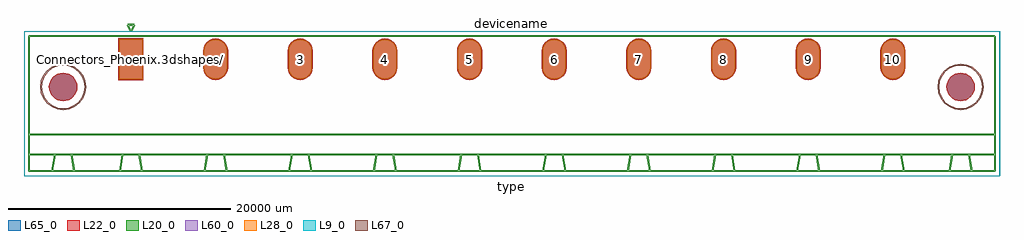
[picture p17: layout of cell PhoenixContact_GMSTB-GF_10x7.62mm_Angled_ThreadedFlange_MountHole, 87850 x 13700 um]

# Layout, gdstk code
import gdstk
lib = gdstk.Library(unit=1e-6, precision=1e-09)
def R(c, l, rs):  # rectangles x0, y0, x1, y1
    for r in rs: c.add(gdstk.rectangle(r[:2], r[2:], *l))
def P(c, l, *ps):  # polygons
    for p in ps: c.add(gdstk.Polygon(p, *l))
L9_0 = (9, 0)
L20_0 = (20, 0)
L22_0 = (22, 0)
L28_0 = (28, 0)
L60_0 = (60, 0)
L65_0 = (65, 0)
L67_0 = (67, 0)

phoenixcontact_gmstb_gf_ = lib.new_cell('PhoenixContact_GMSTB-GF_10x7.62mm_Angled_ThreadedFlange_MountHole')
R(phoenixcontact_gmstb_gf_, L22_0, [(-1125,-1875,1125,1875)])
P(phoenixcontact_gmstb_gf_, L22_0, [(75955,-2500),(75930.501,-2251.26),(75857.946,-2012.079),(75740.124,-1791.648),(75581.561,-1598.439),(75388.352,-1439.876),(75167.921,-1322.054),(74928.74,-1249.499),(74680,-1225),(74431.26,-1249.499),(74192.079,-1322.054),(73971.648,-1439.876),(73778.439,-1598.439),(73619.876,-1791.648),(73502.054,-2012.079),(73429.499,-2251.26),(73405,-2500),(73429.499,-2748.74),(73502.054,-2987.921),(73619.876,-3208.352),(73778.439,-3401.561),(73971.648,-3560.124),(74192.079,-3677.946),(74431.26,-3750.501),(74680,-3775),(74928.74,-3750.501),(75167.921,-3677.946),(75388.352,-3560.124),(75581.561,-3401.561),(75740.124,-3208.352),(75857.946,-2987.921),(75930.501,-2748.74)],
  [(-4825,-2500),(-4849.499,-2251.26),(-4922.054,-2012.079),(-5039.876,-1791.648),(-5198.439,-1598.439),(-5391.648,-1439.876),(-5612.079,-1322.054),(-5851.26,-1249.499),(-6100,-1225),(-6348.74,-1249.499),(-6587.921,-1322.054),(-6808.352,-1439.876),(-7001.561,-1598.439),(-7160.124,-1791.648),(-7277.946,-2012.079),(-7350.501,-2251.26),(-7375,-2500),(-7350.501,-2748.74),(-7277.946,-2987.921),(-7160.124,-3208.352),(-7001.561,-3401.561),(-6808.352,-3560.124),(-6587.921,-3677.946),(-6348.74,-3750.501),(-6100,-3775),(-5851.26,-3750.501),(-5612.079,-3677.946),(-5391.648,-3560.124),(-5198.439,-3401.561),(-5039.876,-3208.352),(-4922.054,-2987.921),(-4849.499,-2748.74)],
  [(68580,-1875),(68871.171,-1836.667),(69142.5,-1724.279),(69375.495,-1545.495),(69554.279,-1312.5),(69666.667,-1041.171),(69705,-750),(69705,750),(69666.667,1041.171),(69554.279,1312.5),(69375.495,1545.495),(69142.5,1724.279),(68871.171,1836.667),(68580,1875),(68288.829,1836.667),(68017.5,1724.279),(67784.505,1545.495),(67605.721,1312.5),(67493.333,1041.171),(67455,750),(67455,-750),(67493.333,-1041.171),(67605.721,-1312.5),(67784.505,-1545.495),(68017.5,-1724.279),(68288.829,-1836.667)],
  [(60960,-1875),(61251.171,-1836.667),(61522.5,-1724.279),(61755.495,-1545.495),(61934.279,-1312.5),(62046.667,-1041.171),(62085,-750),(62085,750),(62046.667,1041.171),(61934.279,1312.5),(61755.495,1545.495),(61522.5,1724.279),(61251.171,1836.667),(60960,1875),(60668.829,1836.667),(60397.5,1724.279),(60164.505,1545.495),(59985.721,1312.5),(59873.333,1041.171),(59835,750),(59835,-750),(59873.333,-1041.171),(59985.721,-1312.5),(60164.505,-1545.495),(60397.5,-1724.279),(60668.829,-1836.667)],
  [(53340,-1875),(53631.171,-1836.667),(53902.5,-1724.279),(54135.495,-1545.495),(54314.279,-1312.5),(54426.667,-1041.171),(54465,-750),(54465,750),(54426.667,1041.171),(54314.279,1312.5),(54135.495,1545.495),(53902.5,1724.279),(53631.171,1836.667),(53340,1875),(53048.829,1836.667),(52777.5,1724.279),(52544.505,1545.495),(52365.721,1312.5),(52253.333,1041.171),(52215,750),(52215,-750),(52253.333,-1041.171),(52365.721,-1312.5),(52544.505,-1545.495),(52777.5,-1724.279),(53048.829,-1836.667)],
  [(45720,-1875),(46011.171,-1836.667),(46282.5,-1724.279),(46515.495,-1545.495),(46694.279,-1312.5),(46806.667,-1041.171),(46845,-750),(46845,750),(46806.667,1041.171),(46694.279,1312.5),(46515.495,1545.495),(46282.5,1724.279),(46011.171,1836.667),(45720,1875),(45428.829,1836.667),(45157.5,1724.279),(44924.505,1545.495),(44745.721,1312.5),(44633.333,1041.171),(44595,750),(44595,-750),(44633.333,-1041.171),(44745.721,-1312.5),(44924.505,-1545.495),(45157.5,-1724.279),(45428.829,-1836.667)],
  [(38100,-1875),(38391.171,-1836.667),(38662.5,-1724.279),(38895.495,-1545.495),(39074.279,-1312.5),(39186.667,-1041.171),(39225,-750),(39225,750),(39186.667,1041.171),(39074.279,1312.5),(38895.495,1545.495),(38662.5,1724.279),(38391.171,1836.667),(38100,1875),(37808.829,1836.667),(37537.5,1724.279),(37304.505,1545.495),(37125.721,1312.5),(37013.333,1041.171),(36975,750),(36975,-750),(37013.333,-1041.171),(37125.721,-1312.5),(37304.505,-1545.495),(37537.5,-1724.279),(37808.829,-1836.667)],
  [(30480,-1875),(30771.171,-1836.667),(31042.5,-1724.279),(31275.495,-1545.495),(31454.279,-1312.5),(31566.667,-1041.171),(31605,-750),(31605,750),(31566.667,1041.171),(31454.279,1312.5),(31275.495,1545.495),(31042.5,1724.279),(30771.171,1836.667),(30480,1875),(30188.829,1836.667),(29917.5,1724.279),(29684.505,1545.495),(29505.721,1312.5),(29393.333,1041.171),(29355,750),(29355,-750),(29393.333,-1041.171),(29505.721,-1312.5),(29684.505,-1545.495),(29917.5,-1724.279),(30188.829,-1836.667)],
  [(22860,-1875),(23151.171,-1836.667),(23422.5,-1724.279),(23655.495,-1545.495),(23834.279,-1312.5),(23946.667,-1041.171),(23985,-750),(23985,750),(23946.667,1041.171),(23834.279,1312.5),(23655.495,1545.495),(23422.5,1724.279),(23151.171,1836.667),(22860,1875),(22568.829,1836.667),(22297.5,1724.279),(22064.505,1545.495),(21885.721,1312.5),(21773.333,1041.171),(21735,750),(21735,-750),(21773.333,-1041.171),(21885.721,-1312.5),(22064.505,-1545.495),(22297.5,-1724.279),(22568.829,-1836.667)],
  [(15240,-1875),(15531.171,-1836.667),(15802.5,-1724.279),(16035.495,-1545.495),(16214.279,-1312.5),(16326.667,-1041.171),(16365,-750),(16365,750),(16326.667,1041.171),(16214.279,1312.5),(16035.495,1545.495),(15802.5,1724.279),(15531.171,1836.667),(15240,1875),(14948.829,1836.667),(14677.5,1724.279),(14444.505,1545.495),(14265.721,1312.5),(14153.333,1041.171),(14115,750),(14115,-750),(14153.333,-1041.171),(14265.721,-1312.5),(14444.505,-1545.495),(14677.5,-1724.279),(14948.829,-1836.667)],
  [(7620,-1875),(7911.171,-1836.667),(8182.5,-1724.279),(8415.495,-1545.495),(8594.279,-1312.5),(8706.667,-1041.171),(8745,-750),(8745,750),(8706.667,1041.171),(8594.279,1312.5),(8415.495,1545.495),(8182.5,1724.279),(7911.171,1836.667),(7620,1875),(7328.829,1836.667),(7057.5,1724.279),(6824.505,1545.495),(6645.721,1312.5),(6533.333,1041.171),(6495,750),(6495,-750),(6533.333,-1041.171),(6645.721,-1312.5),(6824.505,-1545.495),(7057.5,-1724.279),(7328.829,-1836.667)])
R(phoenixcontact_gmstb_gf_, L28_0, [(-1050,-1800,1050,1800)])
P(phoenixcontact_gmstb_gf_, L28_0, [(68580,-1800),(68851.76,-1764.222),(69105,-1659.327),(69322.462,-1492.462),(69489.327,-1275),(69594.222,-1021.76),(69630,-750),(69630,750),(69594.222,1021.76),(69489.327,1275),(69322.462,1492.462),(69105,1659.327),(68851.76,1764.222),(68580,1800),(68308.24,1764.222),(68055,1659.327),(67837.538,1492.462),(67670.673,1275),(67565.778,1021.76),(67530,750),(67530,-750),(67565.778,-1021.76),(67670.673,-1275),(67837.538,-1492.462),(68055,-1659.327),(68308.24,-1764.222)],
  [(60960,-1800),(61231.76,-1764.222),(61485,-1659.327),(61702.462,-1492.462),(61869.327,-1275),(61974.222,-1021.76),(62010,-750),(62010,750),(61974.222,1021.76),(61869.327,1275),(61702.462,1492.462),(61485,1659.327),(61231.76,1764.222),(60960,1800),(60688.24,1764.222),(60435,1659.327),(60217.538,1492.462),(60050.673,1275),(59945.778,1021.76),(59910,750),(59910,-750),(59945.778,-1021.76),(60050.673,-1275),(60217.538,-1492.462),(60435,-1659.327),(60688.24,-1764.222)],
  [(53340,-1800),(53611.76,-1764.222),(53865,-1659.327),(54082.462,-1492.462),(54249.327,-1275),(54354.222,-1021.76),(54390,-750),(54390,750),(54354.222,1021.76),(54249.327,1275),(54082.462,1492.462),(53865,1659.327),(53611.76,1764.222),(53340,1800),(53068.24,1764.222),(52815,1659.327),(52597.538,1492.462),(52430.673,1275),(52325.778,1021.76),(52290,750),(52290,-750),(52325.778,-1021.76),(52430.673,-1275),(52597.538,-1492.462),(52815,-1659.327),(53068.24,-1764.222)],
  [(45720,-1800),(45991.76,-1764.222),(46245,-1659.327),(46462.462,-1492.462),(46629.327,-1275),(46734.222,-1021.76),(46770,-750),(46770,750),(46734.222,1021.76),(46629.327,1275),(46462.462,1492.462),(46245,1659.327),(45991.76,1764.222),(45720,1800),(45448.24,1764.222),(45195,1659.327),(44977.538,1492.462),(44810.673,1275),(44705.778,1021.76),(44670,750),(44670,-750),(44705.778,-1021.76),(44810.673,-1275),(44977.538,-1492.462),(45195,-1659.327),(45448.24,-1764.222)],
  [(38100,-1800),(38371.76,-1764.222),(38625,-1659.327),(38842.462,-1492.462),(39009.327,-1275),(39114.222,-1021.76),(39150,-750),(39150,750),(39114.222,1021.76),(39009.327,1275),(38842.462,1492.462),(38625,1659.327),(38371.76,1764.222),(38100,1800),(37828.24,1764.222),(37575,1659.327),(37357.538,1492.462),(37190.673,1275),(37085.778,1021.76),(37050,750),(37050,-750),(37085.778,-1021.76),(37190.673,-1275),(37357.538,-1492.462),(37575,-1659.327),(37828.24,-1764.222)],
  [(30480,-1800),(30751.76,-1764.222),(31005,-1659.327),(31222.462,-1492.462),(31389.327,-1275),(31494.222,-1021.76),(31530,-750),(31530,750),(31494.222,1021.76),(31389.327,1275),(31222.462,1492.462),(31005,1659.327),(30751.76,1764.222),(30480,1800),(30208.24,1764.222),(29955,1659.327),(29737.538,1492.462),(29570.673,1275),(29465.778,1021.76),(29430,750),(29430,-750),(29465.778,-1021.76),(29570.673,-1275),(29737.538,-1492.462),(29955,-1659.327),(30208.24,-1764.222)],
  [(22860,-1800),(23131.76,-1764.222),(23385,-1659.327),(23602.462,-1492.462),(23769.327,-1275),(23874.222,-1021.76),(23910,-750),(23910,750),(23874.222,1021.76),(23769.327,1275),(23602.462,1492.462),(23385,1659.327),(23131.76,1764.222),(22860,1800),(22588.24,1764.222),(22335,1659.327),(22117.538,1492.462),(21950.673,1275),(21845.778,1021.76),(21810,750),(21810,-750),(21845.778,-1021.76),(21950.673,-1275),(22117.538,-1492.462),(22335,-1659.327),(22588.24,-1764.222)],
  [(15240,-1800),(15511.76,-1764.222),(15765,-1659.327),(15982.462,-1492.462),(16149.327,-1275),(16254.222,-1021.76),(16290,-750),(16290,750),(16254.222,1021.76),(16149.327,1275),(15982.462,1492.462),(15765,1659.327),(15511.76,1764.222),(15240,1800),(14968.24,1764.222),(14715,1659.327),(14497.538,1492.462),(14330.673,1275),(14225.778,1021.76),(14190,750),(14190,-750),(14225.778,-1021.76),(14330.673,-1275),(14497.538,-1492.462),(14715,-1659.327),(14968.24,-1764.222)],
  [(7620,-1800),(7891.76,-1764.222),(8145,-1659.327),(8362.462,-1492.462),(8529.327,-1275),(8634.222,-1021.76),(8670,-750),(8670,750),(8634.222,1021.76),(8529.327,1275),(8362.462,1492.462),(8145,1659.327),(7891.76,1764.222),(7620,1800),(7348.24,1764.222),(7095,1659.327),(6877.538,1492.462),(6710.673,1275),(6605.778,1021.76),(6570,750),(6570,-750),(6605.778,-1021.76),(6710.673,-1275),(6877.538,-1492.462),(7095,-1659.327),(7348.24,-1764.222)])
R(phoenixcontact_gmstb_gf_, L60_0, [(-1050,-1800,1050,1800)])
P(phoenixcontact_gmstb_gf_, L60_0, [(68580,-1800),(68851.76,-1764.222),(69105,-1659.327),(69322.462,-1492.462),(69489.327,-1275),(69594.222,-1021.76),(69630,-750),(69630,750),(69594.222,1021.76),(69489.327,1275),(69322.462,1492.462),(69105,1659.327),(68851.76,1764.222),(68580,1800),(68308.24,1764.222),(68055,1659.327),(67837.538,1492.462),(67670.673,1275),(67565.778,1021.76),(67530,750),(67530,-750),(67565.778,-1021.76),(67670.673,-1275),(67837.538,-1492.462),(68055,-1659.327),(68308.24,-1764.222)],
  [(60960,-1800),(61231.76,-1764.222),(61485,-1659.327),(61702.462,-1492.462),(61869.327,-1275),(61974.222,-1021.76),(62010,-750),(62010,750),(61974.222,1021.76),(61869.327,1275),(61702.462,1492.462),(61485,1659.327),(61231.76,1764.222),(60960,1800),(60688.24,1764.222),(60435,1659.327),(60217.538,1492.462),(60050.673,1275),(59945.778,1021.76),(59910,750),(59910,-750),(59945.778,-1021.76),(60050.673,-1275),(60217.538,-1492.462),(60435,-1659.327),(60688.24,-1764.222)],
  [(53340,-1800),(53611.76,-1764.222),(53865,-1659.327),(54082.462,-1492.462),(54249.327,-1275),(54354.222,-1021.76),(54390,-750),(54390,750),(54354.222,1021.76),(54249.327,1275),(54082.462,1492.462),(53865,1659.327),(53611.76,1764.222),(53340,1800),(53068.24,1764.222),(52815,1659.327),(52597.538,1492.462),(52430.673,1275),(52325.778,1021.76),(52290,750),(52290,-750),(52325.778,-1021.76),(52430.673,-1275),(52597.538,-1492.462),(52815,-1659.327),(53068.24,-1764.222)],
  [(45720,-1800),(45991.76,-1764.222),(46245,-1659.327),(46462.462,-1492.462),(46629.327,-1275),(46734.222,-1021.76),(46770,-750),(46770,750),(46734.222,1021.76),(46629.327,1275),(46462.462,1492.462),(46245,1659.327),(45991.76,1764.222),(45720,1800),(45448.24,1764.222),(45195,1659.327),(44977.538,1492.462),(44810.673,1275),(44705.778,1021.76),(44670,750),(44670,-750),(44705.778,-1021.76),(44810.673,-1275),(44977.538,-1492.462),(45195,-1659.327),(45448.24,-1764.222)],
  [(38100,-1800),(38371.76,-1764.222),(38625,-1659.327),(38842.462,-1492.462),(39009.327,-1275),(39114.222,-1021.76),(39150,-750),(39150,750),(39114.222,1021.76),(39009.327,1275),(38842.462,1492.462),(38625,1659.327),(38371.76,1764.222),(38100,1800),(37828.24,1764.222),(37575,1659.327),(37357.538,1492.462),(37190.673,1275),(37085.778,1021.76),(37050,750),(37050,-750),(37085.778,-1021.76),(37190.673,-1275),(37357.538,-1492.462),(37575,-1659.327),(37828.24,-1764.222)],
  [(30480,-1800),(30751.76,-1764.222),(31005,-1659.327),(31222.462,-1492.462),(31389.327,-1275),(31494.222,-1021.76),(31530,-750),(31530,750),(31494.222,1021.76),(31389.327,1275),(31222.462,1492.462),(31005,1659.327),(30751.76,1764.222),(30480,1800),(30208.24,1764.222),(29955,1659.327),(29737.538,1492.462),(29570.673,1275),(29465.778,1021.76),(29430,750),(29430,-750),(29465.778,-1021.76),(29570.673,-1275),(29737.538,-1492.462),(29955,-1659.327),(30208.24,-1764.222)],
  [(22860,-1800),(23131.76,-1764.222),(23385,-1659.327),(23602.462,-1492.462),(23769.327,-1275),(23874.222,-1021.76),(23910,-750),(23910,750),(23874.222,1021.76),(23769.327,1275),(23602.462,1492.462),(23385,1659.327),(23131.76,1764.222),(22860,1800),(22588.24,1764.222),(22335,1659.327),(22117.538,1492.462),(21950.673,1275),(21845.778,1021.76),(21810,750),(21810,-750),(21845.778,-1021.76),(21950.673,-1275),(22117.538,-1492.462),(22335,-1659.327),(22588.24,-1764.222)],
  [(15240,-1800),(15511.76,-1764.222),(15765,-1659.327),(15982.462,-1492.462),(16149.327,-1275),(16254.222,-1021.76),(16290,-750),(16290,750),(16254.222,1021.76),(16149.327,1275),(15982.462,1492.462),(15765,1659.327),(15511.76,1764.222),(15240,1800),(14968.24,1764.222),(14715,1659.327),(14497.538,1492.462),(14330.673,1275),(14225.778,1021.76),(14190,750),(14190,-750),(14225.778,-1021.76),(14330.673,-1275),(14497.538,-1492.462),(14715,-1659.327),(14968.24,-1764.222)],
  [(7620,-1800),(7891.76,-1764.222),(8145,-1659.327),(8362.462,-1492.462),(8529.327,-1275),(8634.222,-1021.76),(8670,-750),(8670,750),(8634.222,1021.76),(8529.327,1275),(8362.462,1492.462),(8145,1659.327),(7891.76,1764.222),(7620,1800),(7348.24,1764.222),(7095,1659.327),(6877.538,1492.462),(6710.673,1275),(6605.778,1021.76),(6570,750),(6570,-750),(6605.778,-1021.76),(6710.673,-1275),(6877.538,-1492.462),(7095,-1659.327),(7348.24,-1764.222)])
R(phoenixcontact_gmstb_gf_, L65_0, [(-1125,-1875,1125,1875)])
P(phoenixcontact_gmstb_gf_, L65_0, [(75955,-2500),(75930.501,-2251.26),(75857.946,-2012.079),(75740.124,-1791.648),(75581.561,-1598.439),(75388.352,-1439.876),(75167.921,-1322.054),(74928.74,-1249.499),(74680,-1225),(74431.26,-1249.499),(74192.079,-1322.054),(73971.648,-1439.876),(73778.439,-1598.439),(73619.876,-1791.648),(73502.054,-2012.079),(73429.499,-2251.26),(73405,-2500),(73429.499,-2748.74),(73502.054,-2987.921),(73619.876,-3208.352),(73778.439,-3401.561),(73971.648,-3560.124),(74192.079,-3677.946),(74431.26,-3750.501),(74680,-3775),(74928.74,-3750.501),(75167.921,-3677.946),(75388.352,-3560.124),(75581.561,-3401.561),(75740.124,-3208.352),(75857.946,-2987.921),(75930.501,-2748.74)],
  [(-4825,-2500),(-4849.499,-2251.26),(-4922.054,-2012.079),(-5039.876,-1791.648),(-5198.439,-1598.439),(-5391.648,-1439.876),(-5612.079,-1322.054),(-5851.26,-1249.499),(-6100,-1225),(-6348.74,-1249.499),(-6587.921,-1322.054),(-6808.352,-1439.876),(-7001.561,-1598.439),(-7160.124,-1791.648),(-7277.946,-2012.079),(-7350.501,-2251.26),(-7375,-2500),(-7350.501,-2748.74),(-7277.946,-2987.921),(-7160.124,-3208.352),(-7001.561,-3401.561),(-6808.352,-3560.124),(-6587.921,-3677.946),(-6348.74,-3750.501),(-6100,-3775),(-5851.26,-3750.501),(-5612.079,-3677.946),(-5391.648,-3560.124),(-5198.439,-3401.561),(-5039.876,-3208.352),(-4922.054,-2987.921),(-4849.499,-2748.74)],
  [(68580,-1875),(68871.171,-1836.667),(69142.5,-1724.279),(69375.495,-1545.495),(69554.279,-1312.5),(69666.667,-1041.171),(69705,-750),(69705,750),(69666.667,1041.171),(69554.279,1312.5),(69375.495,1545.495),(69142.5,1724.279),(68871.171,1836.667),(68580,1875),(68288.829,1836.667),(68017.5,1724.279),(67784.505,1545.495),(67605.721,1312.5),(67493.333,1041.171),(67455,750),(67455,-750),(67493.333,-1041.171),(67605.721,-1312.5),(67784.505,-1545.495),(68017.5,-1724.279),(68288.829,-1836.667)],
  [(60960,-1875),(61251.171,-1836.667),(61522.5,-1724.279),(61755.495,-1545.495),(61934.279,-1312.5),(62046.667,-1041.171),(62085,-750),(62085,750),(62046.667,1041.171),(61934.279,1312.5),(61755.495,1545.495),(61522.5,1724.279),(61251.171,1836.667),(60960,1875),(60668.829,1836.667),(60397.5,1724.279),(60164.505,1545.495),(59985.721,1312.5),(59873.333,1041.171),(59835,750),(59835,-750),(59873.333,-1041.171),(59985.721,-1312.5),(60164.505,-1545.495),(60397.5,-1724.279),(60668.829,-1836.667)],
  [(53340,-1875),(53631.171,-1836.667),(53902.5,-1724.279),(54135.495,-1545.495),(54314.279,-1312.5),(54426.667,-1041.171),(54465,-750),(54465,750),(54426.667,1041.171),(54314.279,1312.5),(54135.495,1545.495),(53902.5,1724.279),(53631.171,1836.667),(53340,1875),(53048.829,1836.667),(52777.5,1724.279),(52544.505,1545.495),(52365.721,1312.5),(52253.333,1041.171),(52215,750),(52215,-750),(52253.333,-1041.171),(52365.721,-1312.5),(52544.505,-1545.495),(52777.5,-1724.279),(53048.829,-1836.667)],
  [(45720,-1875),(46011.171,-1836.667),(46282.5,-1724.279),(46515.495,-1545.495),(46694.279,-1312.5),(46806.667,-1041.171),(46845,-750),(46845,750),(46806.667,1041.171),(46694.279,1312.5),(46515.495,1545.495),(46282.5,1724.279),(46011.171,1836.667),(45720,1875),(45428.829,1836.667),(45157.5,1724.279),(44924.505,1545.495),(44745.721,1312.5),(44633.333,1041.171),(44595,750),(44595,-750),(44633.333,-1041.171),(44745.721,-1312.5),(44924.505,-1545.495),(45157.5,-1724.279),(45428.829,-1836.667)],
  [(38100,-1875),(38391.171,-1836.667),(38662.5,-1724.279),(38895.495,-1545.495),(39074.279,-1312.5),(39186.667,-1041.171),(39225,-750),(39225,750),(39186.667,1041.171),(39074.279,1312.5),(38895.495,1545.495),(38662.5,1724.279),(38391.171,1836.667),(38100,1875),(37808.829,1836.667),(37537.5,1724.279),(37304.505,1545.495),(37125.721,1312.5),(37013.333,1041.171),(36975,750),(36975,-750),(37013.333,-1041.171),(37125.721,-1312.5),(37304.505,-1545.495),(37537.5,-1724.279),(37808.829,-1836.667)],
  [(30480,-1875),(30771.171,-1836.667),(31042.5,-1724.279),(31275.495,-1545.495),(31454.279,-1312.5),(31566.667,-1041.171),(31605,-750),(31605,750),(31566.667,1041.171),(31454.279,1312.5),(31275.495,1545.495),(31042.5,1724.279),(30771.171,1836.667),(30480,1875),(30188.829,1836.667),(29917.5,1724.279),(29684.505,1545.495),(29505.721,1312.5),(29393.333,1041.171),(29355,750),(29355,-750),(29393.333,-1041.171),(29505.721,-1312.5),(29684.505,-1545.495),(29917.5,-1724.279),(30188.829,-1836.667)],
  [(22860,-1875),(23151.171,-1836.667),(23422.5,-1724.279),(23655.495,-1545.495),(23834.279,-1312.5),(23946.667,-1041.171),(23985,-750),(23985,750),(23946.667,1041.171),(23834.279,1312.5),(23655.495,1545.495),(23422.5,1724.279),(23151.171,1836.667),(22860,1875),(22568.829,1836.667),(22297.5,1724.279),(22064.505,1545.495),(21885.721,1312.5),(21773.333,1041.171),(21735,750),(21735,-750),(21773.333,-1041.171),(21885.721,-1312.5),(22064.505,-1545.495),(22297.5,-1724.279),(22568.829,-1836.667)],
  [(15240,-1875),(15531.171,-1836.667),(15802.5,-1724.279),(16035.495,-1545.495),(16214.279,-1312.5),(16326.667,-1041.171),(16365,-750),(16365,750),(16326.667,1041.171),(16214.279,1312.5),(16035.495,1545.495),(15802.5,1724.279),(15531.171,1836.667),(15240,1875),(14948.829,1836.667),(14677.5,1724.279),(14444.505,1545.495),(14265.721,1312.5),(14153.333,1041.171),(14115,750),(14115,-750),(14153.333,-1041.171),(14265.721,-1312.5),(14444.505,-1545.495),(14677.5,-1724.279),(14948.829,-1836.667)],
  [(7620,-1875),(7911.171,-1836.667),(8182.5,-1724.279),(8415.495,-1545.495),(8594.279,-1312.5),(8706.667,-1041.171),(8745,-750),(8745,750),(8706.667,1041.171),(8594.279,1312.5),(8415.495,1545.495),(8182.5,1724.279),(7911.171,1836.667),(7620,1875),(7328.829,1836.667),(7057.5,1724.279),(6824.505,1545.495),(6645.721,1312.5),(6533.333,1041.171),(6495,750),(6495,-750),(6533.333,-1041.171),(6645.721,-1312.5),(6824.505,-1545.495),(7057.5,-1724.279),(7328.829,-1836.667)])
phoenixcontact_gmstb_gf_.add(gdstk.FlexPath([(-300,3100),(0,2500)], 149.998, ends="flush", simple_path=True, layer=20, datatype=0))  # L20_0
phoenixcontact_gmstb_gf_.add(gdstk.FlexPath([(300,3100),(-300,3100)], 149.998, ends="flush", simple_path=True, layer=20, datatype=0))  # L20_0
phoenixcontact_gmstb_gf_.add(gdstk.FlexPath([(0,2500),(300,3100)], 149.998, ends="flush", simple_path=True, layer=20, datatype=0))  # L20_0
phoenixcontact_gmstb_gf_.add(gdstk.FlexPath([(78200,2500),(-9600,2500)], 50, ends="flush", simple_path=True, layer=9, datatype=0))  # L9_0
phoenixcontact_gmstb_gf_.add(gdstk.FlexPath([(78200,-10500),(78200,2500)], 50, ends="flush", simple_path=True, layer=9, datatype=0))  # L9_0
phoenixcontact_gmstb_gf_.add(gdstk.FlexPath([(-9600,-10500),(78200,-10500)], 50, ends="flush", simple_path=True, layer=9, datatype=0))  # L9_0
phoenixcontact_gmstb_gf_.add(gdstk.FlexPath([(-9600,2500),(-9600,-10500)], 50, ends="flush", simple_path=True, layer=9, datatype=0))  # L9_0
phoenixcontact_gmstb_gf_.add(gdstk.FlexPath([(67830,-8580),(67580,-10080)], 149.998, ends="flush", simple_path=True, layer=20, datatype=0))  # L20_0
phoenixcontact_gmstb_gf_.add(gdstk.FlexPath([(69330,-8580),(67830,-8580)], 149.998, ends="flush", simple_path=True, layer=20, datatype=0))  # L20_0
phoenixcontact_gmstb_gf_.add(gdstk.FlexPath([(69580,-10080),(69330,-8580)], 149.998, ends="flush", simple_path=True, layer=20, datatype=0))  # L20_0
phoenixcontact_gmstb_gf_.add(gdstk.FlexPath([(67580,-10080),(69580,-10080)], 149.998, ends="flush", simple_path=True, layer=20, datatype=0))  # L20_0
phoenixcontact_gmstb_gf_.add(gdstk.FlexPath([(60210,-8580),(59960,-10080)], 149.998, ends="flush", simple_path=True, layer=20, datatype=0))  # L20_0
phoenixcontact_gmstb_gf_.add(gdstk.FlexPath([(61710,-8580),(60210,-8580)], 149.998, ends="flush", simple_path=True, layer=20, datatype=0))  # L20_0
phoenixcontact_gmstb_gf_.add(gdstk.FlexPath([(61960,-10080),(61710,-8580)], 149.998, ends="flush", simple_path=True, layer=20, datatype=0))  # L20_0
phoenixcontact_gmstb_gf_.add(gdstk.FlexPath([(59960,-10080),(61960,-10080)], 149.998, ends="flush", simple_path=True, layer=20, datatype=0))  # L20_0
phoenixcontact_gmstb_gf_.add(gdstk.FlexPath([(52590,-8580),(52340,-10080)], 149.998, ends="flush", simple_path=True, layer=20, datatype=0))  # L20_0
phoenixcontact_gmstb_gf_.add(gdstk.FlexPath([(54090,-8580),(52590,-8580)], 149.998, ends="flush", simple_path=True, layer=20, datatype=0))  # L20_0
phoenixcontact_gmstb_gf_.add(gdstk.FlexPath([(54340,-10080),(54090,-8580)], 149.998, ends="flush", simple_path=True, layer=20, datatype=0))  # L20_0
phoenixcontact_gmstb_gf_.add(gdstk.FlexPath([(52340,-10080),(54340,-10080)], 149.998, ends="flush", simple_path=True, layer=20, datatype=0))  # L20_0
phoenixcontact_gmstb_gf_.add(gdstk.FlexPath([(44970,-8580),(44720,-10080)], 149.998, ends="flush", simple_path=True, layer=20, datatype=0))  # L20_0
phoenixcontact_gmstb_gf_.add(gdstk.FlexPath([(46470,-8580),(44970,-8580)], 149.998, ends="flush", simple_path=True, layer=20, datatype=0))  # L20_0
phoenixcontact_gmstb_gf_.add(gdstk.FlexPath([(46720,-10080),(46470,-8580)], 149.998, ends="flush", simple_path=True, layer=20, datatype=0))  # L20_0
phoenixcontact_gmstb_gf_.add(gdstk.FlexPath([(44720,-10080),(46720,-10080)], 149.998, ends="flush", simple_path=True, layer=20, datatype=0))  # L20_0
phoenixcontact_gmstb_gf_.add(gdstk.FlexPath([(37350,-8580),(37100,-10080)], 149.998, ends="flush", simple_path=True, layer=20, datatype=0))  # L20_0
phoenixcontact_gmstb_gf_.add(gdstk.FlexPath([(38850,-8580),(37350,-8580)], 149.998, ends="flush", simple_path=True, layer=20, datatype=0))  # L20_0
phoenixcontact_gmstb_gf_.add(gdstk.FlexPath([(39100,-10080),(38850,-8580)], 149.998, ends="flush", simple_path=True, layer=20, datatype=0))  # L20_0
phoenixcontact_gmstb_gf_.add(gdstk.FlexPath([(37100,-10080),(39100,-10080)], 149.998, ends="flush", simple_path=True, layer=20, datatype=0))  # L20_0
phoenixcontact_gmstb_gf_.add(gdstk.FlexPath([(29730,-8580),(29480,-10080)], 149.998, ends="flush", simple_path=True, layer=20, datatype=0))  # L20_0
phoenixcontact_gmstb_gf_.add(gdstk.FlexPath([(31230,-8580),(29730,-8580)], 149.998, ends="flush", simple_path=True, layer=20, datatype=0))  # L20_0
phoenixcontact_gmstb_gf_.add(gdstk.FlexPath([(31480,-10080),(31230,-8580)], 149.998, ends="flush", simple_path=True, layer=20, datatype=0))  # L20_0
phoenixcontact_gmstb_gf_.add(gdstk.FlexPath([(29480,-10080),(31480,-10080)], 149.998, ends="flush", simple_path=True, layer=20, datatype=0))  # L20_0
phoenixcontact_gmstb_gf_.add(gdstk.FlexPath([(22110,-8580),(21860,-10080)], 149.998, ends="flush", simple_path=True, layer=20, datatype=0))  # L20_0
phoenixcontact_gmstb_gf_.add(gdstk.FlexPath([(23610,-8580),(22110,-8580)], 149.998, ends="flush", simple_path=True, layer=20, datatype=0))  # L20_0
phoenixcontact_gmstb_gf_.add(gdstk.FlexPath([(23860,-10080),(23610,-8580)], 149.998, ends="flush", simple_path=True, layer=20, datatype=0))  # L20_0
phoenixcontact_gmstb_gf_.add(gdstk.FlexPath([(21860,-10080),(23860,-10080)], 149.998, ends="flush", simple_path=True, layer=20, datatype=0))  # L20_0
phoenixcontact_gmstb_gf_.add(gdstk.FlexPath([(14490,-8580),(14240,-10080)], 149.998, ends="flush", simple_path=True, layer=20, datatype=0))  # L20_0
phoenixcontact_gmstb_gf_.add(gdstk.FlexPath([(15990,-8580),(14490,-8580)], 149.998, ends="flush", simple_path=True, layer=20, datatype=0))  # L20_0
phoenixcontact_gmstb_gf_.add(gdstk.FlexPath([(16240,-10080),(15990,-8580)], 149.998, ends="flush", simple_path=True, layer=20, datatype=0))  # L20_0
phoenixcontact_gmstb_gf_.add(gdstk.FlexPath([(14240,-10080),(16240,-10080)], 149.998, ends="flush", simple_path=True, layer=20, datatype=0))  # L20_0
phoenixcontact_gmstb_gf_.add(gdstk.FlexPath([(6870,-8580),(6620,-10080)], 149.998, ends="flush", simple_path=True, layer=20, datatype=0))  # L20_0
phoenixcontact_gmstb_gf_.add(gdstk.FlexPath([(8370,-8580),(6870,-8580)], 149.998, ends="flush", simple_path=True, layer=20, datatype=0))  # L20_0
phoenixcontact_gmstb_gf_.add(gdstk.FlexPath([(8620,-10080),(8370,-8580)], 149.998, ends="flush", simple_path=True, layer=20, datatype=0))  # L20_0
phoenixcontact_gmstb_gf_.add(gdstk.FlexPath([(6620,-10080),(8620,-10080)], 149.998, ends="flush", simple_path=True, layer=20, datatype=0))  # L20_0
phoenixcontact_gmstb_gf_.add(gdstk.FlexPath([(-750,-8580),(-1000,-10080)], 149.998, ends="flush", simple_path=True, layer=20, datatype=0))  # L20_0
phoenixcontact_gmstb_gf_.add(gdstk.FlexPath([(750,-8580),(-750,-8580)], 149.998, ends="flush", simple_path=True, layer=20, datatype=0))  # L20_0
phoenixcontact_gmstb_gf_.add(gdstk.FlexPath([(1000,-10080),(750,-8580)], 149.998, ends="flush", simple_path=True, layer=20, datatype=0))  # L20_0
phoenixcontact_gmstb_gf_.add(gdstk.FlexPath([(-1000,-10080),(1000,-10080)], 149.998, ends="flush", simple_path=True, layer=20, datatype=0))  # L20_0
phoenixcontact_gmstb_gf_.add(gdstk.FlexPath([(73930,-8580),(73680,-10080)], 149.998, ends="flush", simple_path=True, layer=20, datatype=0))  # L20_0
phoenixcontact_gmstb_gf_.add(gdstk.FlexPath([(75430,-8580),(73930,-8580)], 149.998, ends="flush", simple_path=True, layer=20, datatype=0))  # L20_0
phoenixcontact_gmstb_gf_.add(gdstk.FlexPath([(75680,-10080),(75430,-8580)], 149.998, ends="flush", simple_path=True, layer=20, datatype=0))  # L20_0
phoenixcontact_gmstb_gf_.add(gdstk.FlexPath([(73680,-10080),(75680,-10080)], 149.998, ends="flush", simple_path=True, layer=20, datatype=0))  # L20_0
phoenixcontact_gmstb_gf_.add(gdstk.FlexPath([(-6850,-8580),(-7100,-10080)], 149.998, ends="flush", simple_path=True, layer=20, datatype=0))  # L20_0
phoenixcontact_gmstb_gf_.add(gdstk.FlexPath([(-5350,-8580),(-6850,-8580)], 149.998, ends="flush", simple_path=True, layer=20, datatype=0))  # L20_0
phoenixcontact_gmstb_gf_.add(gdstk.FlexPath([(-5100,-10080),(-5350,-8580)], 149.998, ends="flush", simple_path=True, layer=20, datatype=0))  # L20_0
phoenixcontact_gmstb_gf_.add(gdstk.FlexPath([(-7100,-10080),(-5100,-10080)], 149.998, ends="flush", simple_path=True, layer=20, datatype=0))  # L20_0
phoenixcontact_gmstb_gf_.add(gdstk.FlexPath([(77760,-8580),(-9180,-8580)], 149.998, ends="flush", simple_path=True, layer=20, datatype=0))  # L20_0
phoenixcontact_gmstb_gf_.add(gdstk.FlexPath([(77760,-6780),(77760,-8580)], 149.998, ends="flush", simple_path=True, layer=20, datatype=0))  # L20_0
phoenixcontact_gmstb_gf_.add(gdstk.FlexPath([(-9180,-6780),(77760,-6780)], 149.998, ends="flush", simple_path=True, layer=20, datatype=0))  # L20_0
phoenixcontact_gmstb_gf_.add(gdstk.FlexPath([(-9180,-8580),(-9180,-6780)], 149.998, ends="flush", simple_path=True, layer=20, datatype=0))  # L20_0
phoenixcontact_gmstb_gf_.add(gdstk.FlexPath([(77760,2080),(-9180,2080)], 149.998, ends="flush", simple_path=True, layer=20, datatype=0))  # L20_0
phoenixcontact_gmstb_gf_.add(gdstk.FlexPath([(77760,-10080),(77760,2080)], 149.998, ends="flush", simple_path=True, layer=20, datatype=0))  # L20_0
phoenixcontact_gmstb_gf_.add(gdstk.FlexPath([(-9180,-10080),(77760,-10080)], 149.998, ends="flush", simple_path=True, layer=20, datatype=0))  # L20_0
phoenixcontact_gmstb_gf_.add(gdstk.FlexPath([(-9180,2080),(-9180,-10080)], 149.998, ends="flush", simple_path=True, layer=20, datatype=0))  # L20_0
phoenixcontact_gmstb_gf_.add(gdstk.FlexPath([(76680,-2500),(76611.852,-1982.362),(76412.051,-1500),(76094.214,-1085.786),(75680,-767.949),(75197.638,-568.148),(74680,-500),(74162.362,-568.148),(73680,-767.949),(73265.786,-1085.786),(72947.949,-1500),(72748.148,-1982.362),(72680,-2500),(72748.148,-3017.638),(72947.949,-3500),(73265.786,-3914.214),(73680,-4232.051),(74162.362,-4431.852),(74680,-4500),(75197.638,-4431.852),(75680,-4232.051),(76094.214,-3914.214),(76412.051,-3500),(76611.852,-3017.638),(76680,-2500)], 149.998, ends="flush", simple_path=True, layer=67, datatype=0))  # L67_0
phoenixcontact_gmstb_gf_.add(gdstk.FlexPath([(-4100,-2500),(-4168.148,-1982.362),(-4367.949,-1500),(-4685.786,-1085.786),(-5100,-767.949),(-5582.362,-568.148),(-6100,-500),(-6617.638,-568.148),(-7100,-767.949),(-7514.214,-1085.786),(-7832.051,-1500),(-8031.852,-1982.362),(-8100,-2500),(-8031.852,-3017.638),(-7832.051,-3500),(-7514.214,-3914.214),(-7100,-4232.051),(-6617.638,-4431.852),(-6100,-4500),(-5582.362,-4431.852),(-5100,-4232.051),(-4685.786,-3914.214),(-4367.949,-3500),(-4168.148,-3017.638),(-4100,-2500)], 149.998, ends="flush", simple_path=True, layer=67, datatype=0))  # L67_0
phoenixcontact_gmstb_gf_.add(gdstk.Label('Connectors_Phoenix.3dshapes/PhoenixContact_GMSTB-GF_10x7.62mm_Angled_ThreadedFlange_MountHole.wrl', (0,0), layer=12, texttype=0))
phoenixcontact_gmstb_gf_.add(gdstk.Label('10', (68580,0), layer=28, texttype=0))
phoenixcontact_gmstb_gf_.add(gdstk.Label('9', (60960,0), layer=28, texttype=0))
phoenixcontact_gmstb_gf_.add(gdstk.Label('8', (53340,0), layer=28, texttype=0))
phoenixcontact_gmstb_gf_.add(gdstk.Label('7', (45720,0), layer=28, texttype=0))
phoenixcontact_gmstb_gf_.add(gdstk.Label('6', (38100,0), layer=28, texttype=0))
phoenixcontact_gmstb_gf_.add(gdstk.Label('5', (30480,0), layer=28, texttype=0))
phoenixcontact_gmstb_gf_.add(gdstk.Label('4', (22860,0), layer=28, texttype=0))
phoenixcontact_gmstb_gf_.add(gdstk.Label('3', (15240,0), layer=28, texttype=0))
phoenixcontact_gmstb_gf_.add(gdstk.Label('2', (7620,0), layer=28, texttype=0))
phoenixcontact_gmstb_gf_.add(gdstk.Label('1', (0,0), layer=28, texttype=0))
phoenixcontact_gmstb_gf_.add(gdstk.Label('type', (34290,-11500), layer=9, texttype=0))
phoenixcontact_gmstb_gf_.add(gdstk.Label('devicename', (34290,3200), layer=9, texttype=0))

lib.write_gds('PhoenixContact_GMSTB-GF_10x7.62mm_Angled_ThreadedFlange_MountHole.gds')
